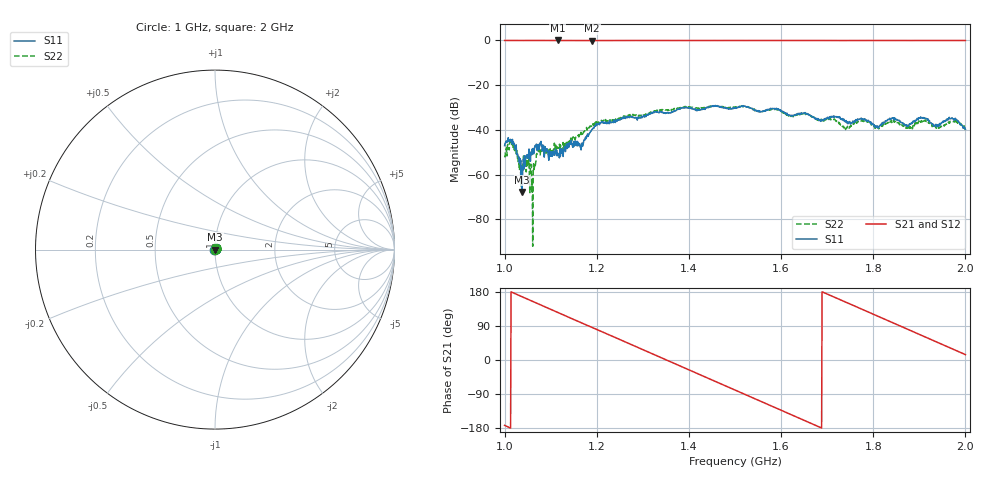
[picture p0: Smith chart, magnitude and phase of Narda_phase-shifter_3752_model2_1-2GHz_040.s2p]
#  HZ  S  DB  R  50.00
! Rohde & Schwarz Vector Network Analyzer
! Rohde-Schwarz,ZNB8-4Port,1311601044102961,2.82
! Created: UTC 1/17/2019, 2:48:52 PM
! freq[Hz]  db:S11  ang:S11  db:S21  ang:S21  db:S12  ang:S12  db:S22  ang:S22
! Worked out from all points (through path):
!   1001 points, 1 GHz to 2 GHz, reference 50 ohm
!   highest |S21| = -0.04 dB at 1.115 GHz (marker M1); lowest = -0.1 dB at 1.19 GHz (marker M2)
!   group delay of S21, straight-line fit = 1.48 ns
!   lowest |S11| = -67.7 dB at 1.038 GHz (marker M3), VSWR 1.00, Z = 50 + j0.0408 ohm
!   |S11| at or under -10 dB: start of sweep to end of sweep
!   |S22| runs from -91.9 to -29.2 dB; largest |S21 - S12| = 0.011
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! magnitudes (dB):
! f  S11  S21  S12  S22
! 1 GHz  -47.0  0.0  -0.1  -51.6
! 1.016 GHz  -46.1  -0.1  -0.1  -46.5
! 1.033 GHz  -52.7  -0.1  -0.1  -57.0
! 1.038 GHz  -67.7  -0.1  -0.1  -65.0
! 1.048 GHz  -52.0  -0.1  -0.1  -51.4
! 1.059 GHz  -51.1  0.0  -0.1  -67.5
! 1.074 GHz  -47.5  -0.1  -0.1  -49.0
! 1.115 GHz  -50.3  0.0  -0.1  -47.9
! 1.167 GHz  -46.7  -0.1  -0.1  -42.3
! 1.19 GHz  -39.7  -0.1  -0.1  -37.8
! 1.334 GHz  -32.2  -0.1  -0.1  -31.0
! 1.5 GHz  -30.2  -0.1  -0.1  -29.9
! 1.667 GHz  -33.9  -0.1  -0.1  -34.2
! 1.742 GHz  -36.2  -0.1  -0.1  -39.2
! 1.773 GHz  -34.9  -0.1  -0.1  -35.9
! 1.808 GHz  -38.3  -0.1  -0.1  -38.7
! 1.834 GHz  -35.2  -0.1  -0.1  -36.9
! 1.873 GHz  -37.7  -0.1  -0.1  -39.3
! 1.908 GHz  -34.7  -0.1  -0.1  -35.6
! 1.937 GHz  -38.2  -0.1  -0.1  -39.3
! 1.969 GHz  -35.0  -0.1  -0.1  -36.3
! 2 GHz  -39.8  -0.1  -0.1  -40.0
